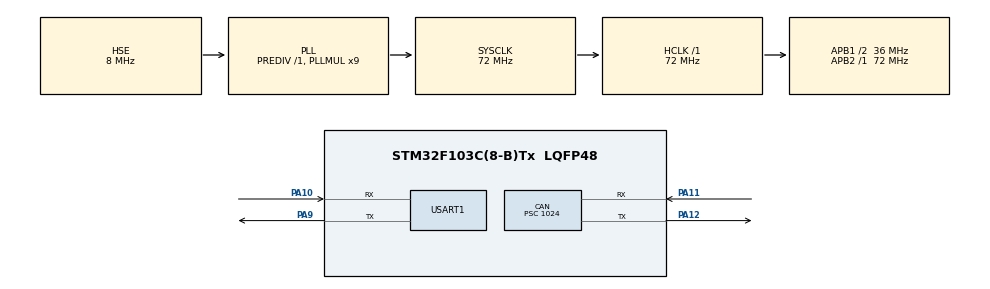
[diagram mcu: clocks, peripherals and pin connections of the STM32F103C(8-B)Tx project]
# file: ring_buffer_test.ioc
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CAN.ABOM=ENABLE
CAN.AWUM=DISABLE
CAN.BS1=CAN_BS1_16TQ
CAN.BS2=CAN_BS2_8TQ
CAN.CalculateBaudRate=1406
CAN.CalculateTimeBit=711111
CAN.CalculateTimeQuantum=28444.444444444445
CAN.NART=ENABLE
CAN.Prescaler=1024
Dma.Request0=USART1_RX
Dma.USART1_RX.0.Direction=DMA_PERIPH_TO_MEMORY
Dma.USART1_RX.0.Instance=DMA1_Channel5
Dma.USART1_RX.0.MemDataAlignment=DMA_MDATAALIGN_BYTE
Dma.USART1_RX.0.MemInc=DMA_MINC_ENABLE
Dma.USART1_RX.0.Mode=DMA_CIRCULAR
Dma.USART1_RX.0.PeriphDataAlignment=DMA_PDATAALIGN_BYTE
Dma.USART1_RX.0.PeriphInc=DMA_PINC_DISABLE
Dma.USART1_RX.0.Priority=DMA_PRIORITY_LOW
Mcu.Family=STM32F1
Mcu.Name=STM32F103C(8-B)Tx
Mcu.Package=LQFP48
NVIC.DMA1_Channel5_IRQn=true\:0\:0\:false\:false\:true\:false\:true\:true
NVIC.PriorityGroup=NVIC_PRIORITYGROUP_4
PA10.Mode=Asynchronous
PA10.Signal=USART1_RX
PA11.Mode=CAN_Activate
PA11.Signal=CAN_RX
PA12.Mode=CAN_Activate
PA12.Signal=CAN_TX
PA13.Mode=Serial_Wire
PA13.Signal=SYS_JTMS-SWDIO
PA14.Mode=Serial_Wire
PA14.Signal=SYS_JTCK-SWCLK
PA9.Mode=Asynchronous
PA9.Signal=USART1_TX
PD0-OSC_IN.Mode=HSE-External-Oscillator
PD0-OSC_IN.Signal=RCC_OSC_IN
PD1-OSC_OUT.Mode=HSE-External-Oscillator
PD1-OSC_OUT.Signal=RCC_OSC_OUT
ProjectManager.HeapSize=0x200
ProjectManager.StackSize=0x400
ProjectManager.TargetToolchain=STM32CubeIDE
RCC.AHBFreq_Value=72000000
RCC.APB1CLKDivider=RCC_HCLK_DIV2
RCC.APB1Freq_Value=36000000
RCC.APB1TimFreq_Value=72000000
RCC.APB2Freq_Value=72000000
RCC.APB2TimFreq_Value=72000000
RCC.HCLKFreq_Value=72000000
RCC.PLLMUL=RCC_PLL_MUL9
RCC.PLLSourceVirtual=RCC_PLLSOURCE_HSE
RCC.SYSCLKFreq_VALUE=72000000
RCC.SYSCLKSource=RCC_SYSCLKSOURCE_PLLCLK
RCC.USBFreq_Value=72000000
USART1.VirtualMode=VM_ASYNC
board=custom

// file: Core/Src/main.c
/* USER CODE BEGIN Header */
/**
  ******************************************************************************
  * @file           : main.c
  * @brief          : Main program body
  ******************************************************************************
  */
/* USER CODE END Header */
#include "main.h"

/* USER CODE BEGIN Includes */
#include <string.h>
/* USER CODE END Includes */

/* USER CODE BEGIN PD */
#define RING_BUF_SIZE   32      // Must match DMA buffer size
#define PACKET_SIZE     8
#define CAN_CMD_ID      0x100
/* USER CODE END PD */

CAN_HandleTypeDef hcan;

UART_HandleTypeDef huart1;
DMA_HandleTypeDef hdma_usart1_rx;

/* USER CODE BEGIN PV */
uint8_t  r_buffer[RING_BUF_SIZE];
volatile uint16_t head_index = 0;
volatile uint16_t tail_index = 0;

volatile uint8_t packet[PACKET_SIZE];
static   uint8_t pkt_index = 0;

CAN_TxHeaderTypeDef TxHeader;
uint32_t TxMailbox;
/* USER CODE END PV */

void SystemClock_Config(void);
static void MX_GPIO_Init(void);
static void MX_DMA_Init(void);
static void MX_CAN_Init(void);
static void MX_USART1_UART_Init(void);
/* USER CODE BEGIN PFP */
static void uart_can(uint8_t b);
static void send_can_packet(uint8_t *data);
/* USER CODE END PFP */

/* USER CODE BEGIN 0 */

static void send_can_packet(uint8_t *data)
{
    if (HAL_CAN_AddTxMessage(&hcan, &TxHeader, data, &TxMailbox) != HAL_OK)
    {
        // TX mailbox full or error – you can handle it here if you want
        // (e.g. blink LED, set a flag, etc.)
    }
}

static void uart_can(uint8_t b)
{
    packet[pkt_index++] = b;

    if (pkt_index == PACKET_SIZE)
    {
        send_can_packet((uint8_t *)packet);
        pkt_index = 0;
    }
}

/* USER CODE END 0 */

int main(void)
{

  /* MCU Configuration--------------------------------------------------------*/

  /* Reset of all peripherals, Initializes the Flash interface and the Systick. */
  HAL_Init();

  /* Configure the system clock */
  SystemClock_Config();

  /* Initialize all configured peripherals */
  MX_GPIO_Init();
  MX_DMA_Init();
  MX_CAN_Init();
  MX_USART1_UART_Init();
  /* USER CODE BEGIN 2 */

  // CAN start (required if not already done elsewhere)
  HAL_CAN_Start(&hcan);

  // TX header config (required for HAL_CAN_AddTxMessage)
  TxHeader.StdId = CAN_CMD_ID;
  TxHeader.ExtId = 0;
  TxHeader.IDE   = CAN_ID_STD;
  TxHeader.RTR   = CAN_RTR_DATA;
  TxHeader.DLC   = PACKET_SIZE;
  TxHeader.TransmitGlobalTime = DISABLE;

  HAL_UART_Receive_DMA(&huart1, r_buffer, RING_BUF_SIZE);

  /* USER CODE END 2 */

  /* Infinite loop */
  while (1)
  {

    /* USER CODE BEGIN 3 */

      head_index = (RING_BUF_SIZE - __HAL_DMA_GET_COUNTER(huart1.hdmarx)) % RING_BUF_SIZE;

      while (tail_index != head_index)
      {
          uint8_t b = r_buffer[tail_index];
          tail_index = (tail_index + 1) % RING_BUF_SIZE;

          uart_can(b);
      }

  /* USER CODE END 3 */
}

void SystemClock_Config(void)
{
  RCC_OscInitTypeDef RCC_OscInitStruct = {0};
  RCC_ClkInitTypeDef RCC_ClkInitStruct = {0};

  /** Initializes the RCC Oscillators according to the specified parameters
  * in the RCC_OscInitTypeDef structure.
  */
  RCC_OscInitStruct.OscillatorType = RCC_OSCILLATORTYPE_HSE;
  RCC_OscInitStruct.HSEState = RCC_HSE_ON;
  RCC_OscInitStruct.HSEPredivValue = RCC_HSE_PREDIV_DIV1;
  RCC_OscInitStruct.HSIState = RCC_HSI_ON;
  RCC_OscInitStruct.PLL.PLLState = RCC_PLL_ON;
  RCC_OscInitStruct.PLL.PLLSource = RCC_PLLSOURCE_HSE;
  RCC_OscInitStruct.PLL.PLLMUL = RCC_PLL_MUL9;
  if (HAL_RCC_OscConfig(&RCC_OscInitStruct) != HAL_OK)
  {
    Error_Handler();
  }

  /** Initializes the CPU, AHB and APB buses clocks
  */
  RCC_ClkInitStruct.ClockType = RCC_CLOCKTYPE_HCLK|RCC_CLOCKTYPE_SYSCLK
                              |RCC_CLOCKTYPE_PCLK1|RCC_CLOCKTYPE_PCLK2;
  RCC_ClkInitStruct.SYSCLKSource = RCC_SYSCLKSOURCE_PLLCLK;
  RCC_ClkInitStruct.AHBCLKDivider = RCC_SYSCLK_DIV1;
  RCC_ClkInitStruct.APB1CLKDivider = RCC_HCLK_DIV2;
  RCC_ClkInitStruct.APB2CLKDivider = RCC_HCLK_DIV1;

  if (HAL_RCC_ClockConfig(&RCC_ClkInitStruct, FLASH_LATENCY_2) != HAL_OK)
  {
    Error_Handler();
  }
}

static void MX_CAN_Init(void)
{

  hcan.Instance = CAN1;
  hcan.Init.Prescaler = 1024;
  hcan.Init.Mode = CAN_MODE_NORMAL;
  hcan.Init.SyncJumpWidth = CAN_SJW_1TQ;
  hcan.Init.TimeSeg1 = CAN_BS1_16TQ;
  hcan.Init.TimeSeg2 = CAN_BS2_8TQ;
  hcan.Init.TimeTriggeredMode = DISABLE;
  hcan.Init.AutoBusOff = ENABLE;
  hcan.Init.AutoWakeUp = DISABLE;
  hcan.Init.AutoRetransmission = ENABLE;
  hcan.Init.ReceiveFifoLocked = DISABLE;
  hcan.Init.TransmitFifoPriority = DISABLE;
  if (HAL_CAN_Init(&hcan) != HAL_OK)
  {
    Error_Handler();
  }

}

static void MX_USART1_UART_Init(void)
{

  huart1.Instance = USART1;
  huart1.Init.BaudRate = 115200;
  huart1.Init.WordLength = UART_WORDLENGTH_8B;
  huart1.Init.StopBits = UART_STOPBITS_1;
  huart1.Init.Parity = UART_PARITY_NONE;
  huart1.Init.Mode = UART_MODE_TX_RX;
  huart1.Init.HwFlowCtl = UART_HWCONTROL_NONE;
  huart1.Init.OverSampling = UART_OVERSAMPLING_16;
  if (HAL_UART_Init(&huart1) != HAL_OK)
  {
    Error_Handler();
  }

}

static void MX_DMA_Init(void)
{

  /* DMA controller clock enable */
  __HAL_RCC_DMA1_CLK_ENABLE();

  /* DMA interrupt init */
  /* DMA1_Channel5_IRQn interrupt configuration */
  HAL_NVIC_SetPriority(DMA1_Channel5_IRQn, 0, 0);
  HAL_NVIC_EnableIRQ(DMA1_Channel5_IRQn);

}

static void MX_GPIO_Init(void)
{

  /* GPIO Ports Clock Enable */
  __HAL_RCC_GPIOD_CLK_ENABLE();
  __HAL_RCC_GPIOA_CLK_ENABLE();

}

void Error_Handler(void)
{
  __disable_irq();
  while (1)
  {
  }
}
